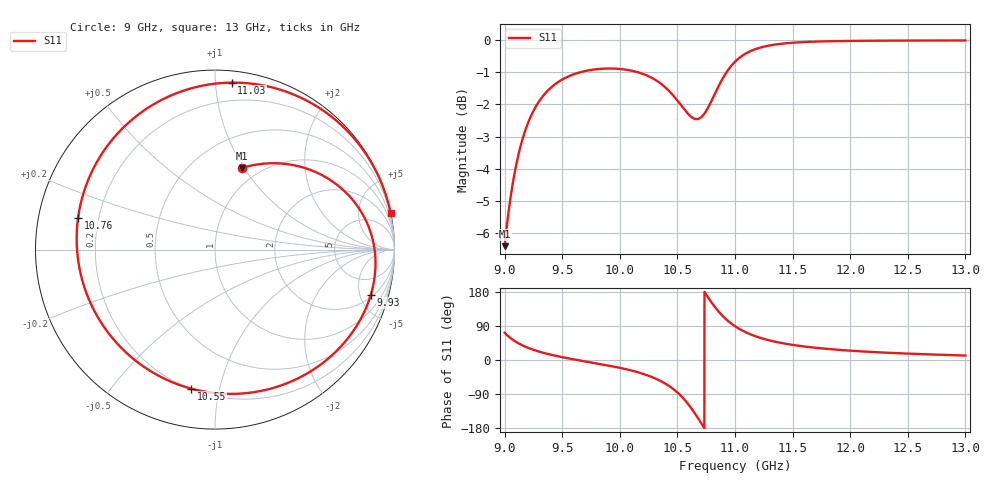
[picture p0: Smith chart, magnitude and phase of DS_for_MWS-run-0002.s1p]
! TOUCHSTONE file generated by CST DESIGN STUDIO
! Date and time: Tue Feb  4 16:44:39 2025
! Project name: C:\Work\MatlabApps\UnitCellOptimizationMatlab\CST\unitcell.cst
! Tree item: Tasks\Sweep1\SPara1\S-Parameters
! Header version: 2024
! Port assignment regex: !\s*Touchstone port\s*([0-9]+)\s*=\s*(CST MWS port|CST DES external port|CST DES block port)\s*(.+)\s* \(\"(.*)\"\)(\s*mode\s*([0-9]+))?.*
! Touchstone port assignment:
! Touchstone port 1 = CST DES external port 1 ("")
# GHz S MA R 50
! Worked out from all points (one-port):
!   4001 points, 9 GHz to 13 GHz, reference 50 ohm
!   lowest |S11| = -6.4 dB at 9 GHz (marker M1), VSWR 2.83, Z = 41.5 + j48.7 ohm
!   |S11| at or under -10 dB: nowhere
!   S11 on the Smith chart (normalised r, x): 9 GHz: 0.83, +0.97; 9.93 GHz: 2.25, -6.22; 10.55 GHz: 0.20, -0.82; 10.76 GHz: 0.12, +0.11; 11.03 GHz: 0.07, +1.10; 13 GHz: 0.01, +9.69
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9  0.4774 71.9
9.092  0.628 49.2
9.219  0.755 30.4
9.345  0.8237 18.2
9.5  0.8688 7.5
9.71  0.8966 -4.2
9.93  0.9039 -16.2
10  0.9025 -20.6
10.164  0.8911 -33.0
10.294  0.8708 -46.9
10.402  0.8424 -63.6
10.5  0.8056 -85.7
10.547  0.7858 -99.8
10.597  0.7666 -117.8
10.644  0.7552 -137.4
10.706  0.7587 -166.4
10.762  0.783 167.1
10.823  0.8238 140.9
10.877  0.8616 121.3
10.934  0.8959 104.5
11  0.9261 89.2
11.025  0.9351 84.3
11.119  0.9594 69.7
11.224  0.9751 58.0
11.5  0.9916 39.9
12  0.9982 24.6
12.5  0.9994 16.8
13  0.9998 11.8
